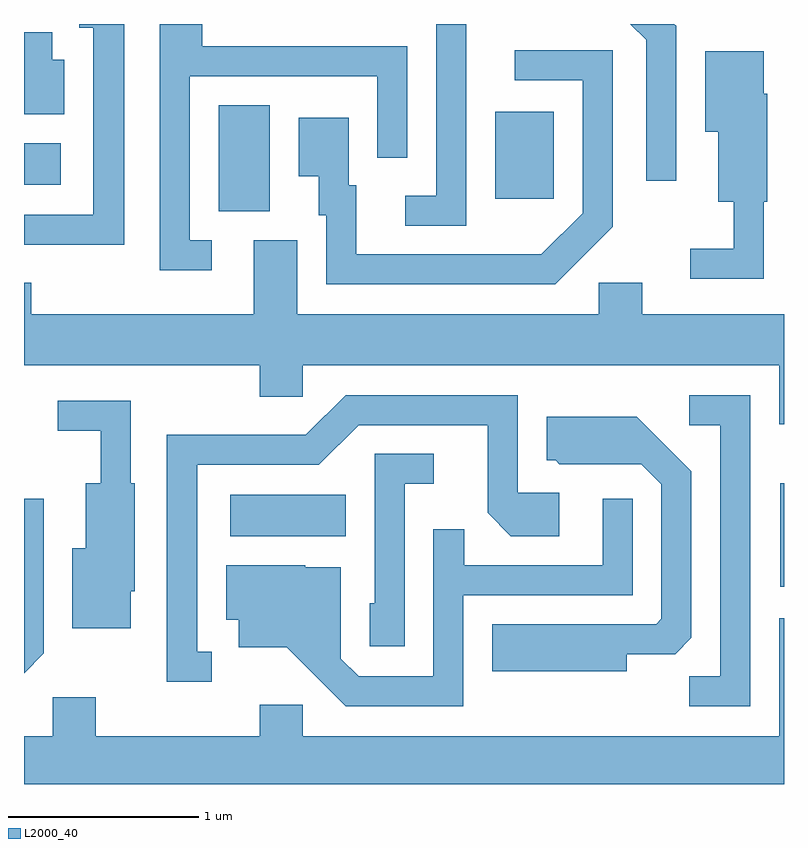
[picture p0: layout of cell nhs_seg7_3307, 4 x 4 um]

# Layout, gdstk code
import gdstk
lib = gdstk.Library(unit=1e-6, precision=1e-09)
def R(c, l, rs):  # rectangles x0, y0, x1, y1
    for r in rs: c.add(gdstk.rectangle(r[:2], r[2:], *l))
def P(c, l, *ps):  # polygons
    for p in ps: c.add(gdstk.Polygon(p, *l))
L2000_40 = (2000, 40)

nhs_seg7_3307 = lib.new_cell('nhs_seg7_3307')
R(nhs_seg7_3307, L2000_40, [(289.591,1795.291,289.611,1795.834), (286.696,1795.556,287.304,1795.774), (286.636,1797.266,286.904,1797.824), (288.091,1797.331,288.399,1797.789), (285.611,1797.406,285.804,1797.624)])
P(nhs_seg7_3307, L2000_40, [(289.044,1798.242),(289.034,1798.252),(288.803,1798.252),(288.886,1798.169),(288.886,1797.428),(289.044,1797.428)],
  [(287.939,1798.252),(287.781,1798.252),(287.781,1797.349),(287.618,1797.349),(287.618,1797.191),(287.939,1797.191)],
  [(286.139,1798.252),(285.903,1798.252),(285.903,1798.231),(285.976,1798.231),(285.976,1797.249),(285.611,1797.249),(285.611,1797.091),(286.139,1797.091)],
  [(286.598,1797.114),(286.484,1797.114),(286.484,1797.976),(287.471,1797.976),(287.471,1797.548),(287.629,1797.548),(287.629,1798.134),(286.549,1798.134),(286.549,1798.252),(286.326,1798.252),(286.326,1796.956),(286.598,1796.956)],
  [(285.824,1798.064),(285.759,1798.064),(285.759,1798.209),(285.611,1798.209),(285.611,1797.776),(285.824,1797.776)],
  [(288.709,1797.184),(288.709,1798.114),(288.193,1798.114),(288.193,1797.956),(288.551,1797.956),(288.551,1797.257),(288.334,1797.039),(287.359,1797.039),(287.359,1797.404),(287.319,1797.404),(287.319,1797.759),(287.056,1797.759),(287.056,1797.451),(287.161,1797.451),(287.161,1797.246),(287.201,1797.246),(287.201,1796.881),(288.407,1796.881)],
  [(289.504,1797.316),(289.524,1797.316),(289.524,1797.884),(289.504,1797.884),(289.504,1798.109),(289.196,1798.109),(289.196,1797.686),(289.266,1797.686),(289.266,1797.316),(289.346,1797.316),(289.346,1797.069),(289.118,1797.069),(289.118,1796.911),(289.504,1796.911)],
  [(289.611,1796.724),(288.864,1796.724),(288.864,1796.889),(288.636,1796.889),(288.636,1796.724),(287.049,1796.724),(287.049,1797.114),(286.821,1797.114),(286.821,1796.724),(285.649,1796.724),(285.649,1796.889),(285.611,1796.889),(285.611,1796.456),(286.851,1796.456),(286.851,1796.291),(287.079,1796.291),(287.079,1796.456),(289.586,1796.456),(289.586,1796.146),(289.611,1796.146)],
  [(289.434,1796.299),(289.113,1796.299),(289.113,1796.141),(289.276,1796.141),(289.276,1794.819),(289.113,1794.819),(289.113,1794.661),(289.434,1794.661)],
  [(286.598,1794.949),(286.524,1794.949),(286.524,1795.931),(287.162,1795.931),(287.372,1796.141),(288.051,1796.141),(288.051,1795.679),(288.174,1795.556),(288.429,1795.556),(288.429,1795.784),(288.209,1795.784),(288.209,1796.299),(287.304,1796.299),(287.094,1796.089),(286.361,1796.089),(286.361,1794.791),(286.598,1794.791)],
  [(286.174,1795.266),(286.194,1795.266),(286.194,1795.834),(286.174,1795.834),(286.174,1796.269),(285.788,1796.269),(285.788,1796.111),(286.016,1796.111),(286.016,1795.834),(285.936,1795.834),(285.936,1795.494),(285.866,1795.494),(285.866,1795.071),(286.174,1795.071)],
  [(288.784,1794.936),(289.039,1794.936),(289.124,1795.022),(289.124,1795.897),(288.837,1796.184),(288.361,1796.184),(288.361,1795.956),(288.409,1795.956),(288.429,1795.936),(288.859,1795.936),(288.966,1795.829),(288.966,1795.122),(288.939,1795.094),(288.076,1795.094),(288.076,1794.846),(288.784,1794.846)],
  [(287.614,1795.831),(287.768,1795.831),(287.768,1795.989),(287.456,1795.989),(287.456,1795.204),(287.431,1795.204),(287.431,1794.976),(287.614,1794.976)],
  [(287.924,1795.246),(288.814,1795.246),(288.814,1795.753),(288.656,1795.753),(288.656,1795.404),(287.929,1795.404),(287.929,1795.593),(287.766,1795.593),(287.766,1794.819),(287.372,1794.819),(287.279,1794.912),(287.279,1795.394),(287.09,1795.394),(287.09,1795.404),(286.676,1795.404),(286.676,1795.116),(286.741,1795.116),(286.741,1794.971),(286.994,1794.971),(287.304,1794.661),(287.924,1794.661)],
  [(285.714,1794.939),(285.714,1795.753),(285.611,1795.753),(285.611,1794.835)],
  [(289.611,1795.124),(289.586,1795.124),(289.586,1794.504),(287.079,1794.504),(287.079,1794.669),(286.851,1794.669),(286.851,1794.504),(285.989,1794.504),(285.989,1794.709),(285.761,1794.709),(285.761,1794.504),(285.611,1794.504),(285.611,1794.252),(289.611,1794.252)])

lib.write_gds('nhs_seg7_3307.gds')
